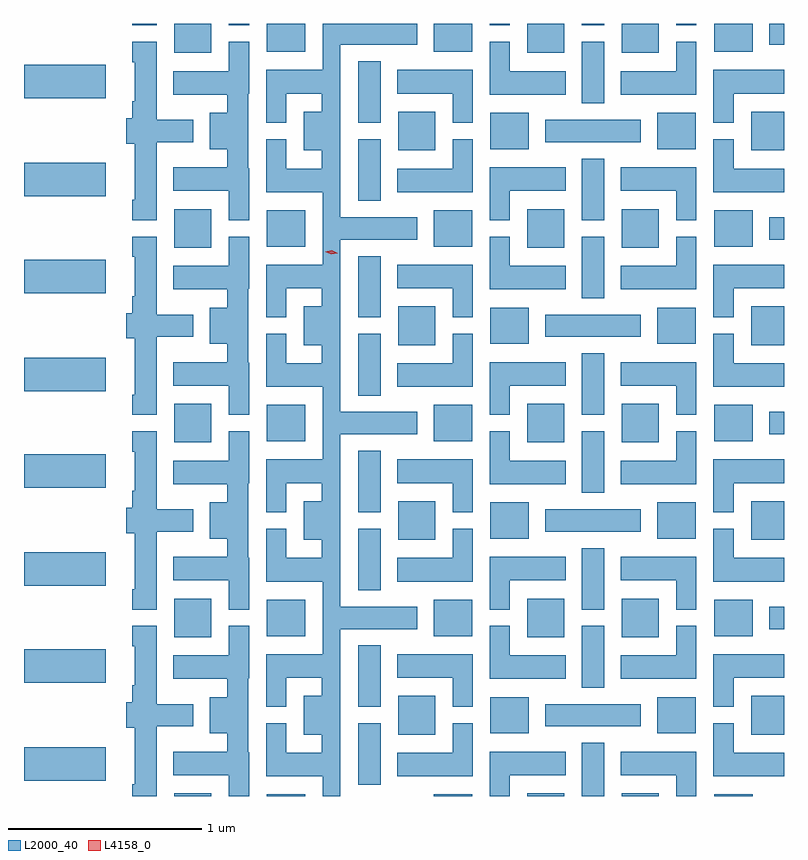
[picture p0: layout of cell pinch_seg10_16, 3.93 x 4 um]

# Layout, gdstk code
import gdstk
lib = gdstk.Library(unit=1e-6, precision=1e-09)
def R(c, l, rs):  # rectangles x0, y0, x1, y1
    for r in rs: c.add(gdstk.rectangle(r[:2], r[2:], *l))
def A(c, l, x, y, w, h, nx, ny, dx, dy):  # array of equal rectangles
    R(c, l, [(x+i*dx, y+j*dy, x+i*dx+w, y+j*dy+h) for i in range(nx) for j in range(ny)])
def P(c, l, *ps):  # polygons
    for p in ps: c.add(gdstk.Polygon(p, *l))
L2000_40 = (2000, 40)
L4158_0 = (4158, 0)

pinch_seg10_16 = lib.new_cell('pinch_seg10_16')
A(pinch_seg10_16, L2000_40, 975.428, 1303.157, 0.116, 0.319, 1, 4, 0, 1.008)
A(pinch_seg10_16, L2000_40, 975.635, 1303.418, 0.191, 0.2, 1, 4, 0, 1.008)
A(pinch_seg10_16, L2000_40, 977.462, 1303.418, 0.17, 0.2, 1, 4, 0, 1.008)
A(pinch_seg10_16, L2000_40, 976.112, 1303.424, 0.2, 0.188, 1, 4, 0, 1.008)
A(pinch_seg10_16, L2000_40, 976.976, 1303.424, 0.2, 0.188, 1, 4, 0, 1.008)
A(pinch_seg10_16, L2000_40, 976.397, 1303.46, 0.494, 0.116, 1, 4, 0, 1.008)
A(pinch_seg10_16, L2000_40, 975.428, 1303.561, 0.116, 0.318, 1, 4, 0, 1.008)
A(pinch_seg10_16, L2000_40, 976.586, 1303.661, 0.116, 0.319, 1, 4, 0, 1.008)
A(pinch_seg10_16, L2000_40, 974.477, 1303.922, 0.191, 0.2, 1, 3, 0, 1.008)
A(pinch_seg10_16, L2000_40, 976.304, 1303.922, 0.191, 0.2, 1, 3, 0, 1.008)
A(pinch_seg10_16, L2000_40, 976.793, 1303.922, 0.191, 0.2, 1, 3, 0, 1.008)
A(pinch_seg10_16, L2000_40, 974.954, 1303.928, 0.2, 0.188, 1, 3, 0, 1.008)
A(pinch_seg10_16, L2000_40, 975.818, 1303.928, 0.2, 0.188, 1, 3, 0, 1.008)
A(pinch_seg10_16, L2000_40, 977.27, 1303.928, 0.2, 0.188, 1, 3, 0, 1.008)
A(pinch_seg10_16, L2000_40, 977.555, 1303.964, 0.077, 0.116, 1, 3, 0, 1.008)
A(pinch_seg10_16, L2000_40, 976.586, 1304.065, 0.116, 0.318, 1, 3, 0, 1.008)
R(pinch_seg10_16, L2000_40, [(974.477,1303.098,974.668,1303.114), (974.954,1303.098,975.154,1303.108), (975.818,1303.098,976.018,1303.108), (976.304,1303.098,976.495,1303.114), (976.586,1303.098,976.702,1303.375), (976.793,1303.098,976.984,1303.114), (977.27,1303.098,977.47,1303.108), (973.698,1303.18,974.122,1303.353), (973.698,1303.687,974.122,1303.86), (973.698,1304.188,974.122,1304.361), (973.698,1304.695,974.122,1304.868), (973.698,1305.196,974.122,1305.369), (973.698,1305.703,974.122,1305.876), (973.698,1306.204,974.122,1306.377), (973.698,1306.711,974.122,1306.884), (974.477,1306.946,974.668,1307.098), (976.304,1306.946,976.495,1307.098), (976.793,1306.946,976.984,1307.098), (974.954,1306.952,975.154,1307.098), (975.818,1306.952,976.018,1307.098), (977.27,1306.952,977.47,1307.098), (977.555,1306.988,977.632,1307.098), (974.258,1307.089,974.386,1307.098), (974.759,1307.089,974.863,1307.098), (976.109,1307.089,976.213,1307.098), (976.586,1307.089,976.702,1307.098), (977.075,1307.089,977.179,1307.098)])
P(pinch_seg10_16, L2000_40, [(975.335,1303.964),(975.733,1303.964),(975.733,1304.08),(975.335,1304.08),(975.335,1304.972),(975.733,1304.972),(975.733,1305.088),(975.335,1305.088),(975.335,1305.98),(975.733,1305.98),(975.733,1306.096),(975.335,1306.096),(975.335,1306.988),(975.733,1306.988),(975.733,1307.098),(975.244,1307.098),(975.244,1306.858),(974.951,1306.858),(974.951,1306.585),(975.055,1306.585),(975.055,1306.736),(975.24,1306.736),(975.24,1306.642),(975.146,1306.642),(975.146,1306.442),(975.24,1306.442),(975.24,1306.348),(975.055,1306.348),(975.055,1306.5),(974.951,1306.5),(974.951,1306.226),(975.244,1306.226),(975.244,1305.85),(974.951,1305.85),(974.951,1305.577),(975.055,1305.577),(975.055,1305.728),(975.24,1305.728),(975.24,1305.634),(975.146,1305.634),(975.146,1305.434),(975.24,1305.434),(975.24,1305.34),(975.055,1305.34),(975.055,1305.492),(974.951,1305.492),(974.951,1305.218),(975.244,1305.218),(975.244,1304.842),(974.951,1304.842),(974.951,1304.569),(975.055,1304.569),(975.055,1304.72),(975.24,1304.72),(975.24,1304.626),(975.146,1304.626),(975.146,1304.426),(975.24,1304.426),(975.24,1304.332),(975.055,1304.332),(975.055,1304.484),(974.951,1304.484),(974.951,1304.21),(975.244,1304.21),(975.244,1303.834),(974.951,1303.834),(974.951,1303.561),(975.055,1303.561),(975.055,1303.712),(975.24,1303.712),(975.24,1303.618),(975.146,1303.618),(975.146,1303.418),(975.24,1303.418),(975.24,1303.324),(975.055,1303.324),(975.055,1303.476),(974.951,1303.476),(974.951,1303.202),(975.244,1303.202),(975.244,1303.098),(975.335,1303.098)],
  [(974.386,1306.484),(974.575,1306.484),(974.575,1306.6),(974.386,1306.6),(974.386,1307.004),(974.258,1307.004),(974.258,1306.898),(974.27,1306.898),(974.27,1306.696),(974.258,1306.696),(974.258,1306.608),(974.228,1306.608),(974.228,1306.477),(974.27,1306.477),(974.27,1306.186),(974.258,1306.186),(974.258,1306.081),(974.386,1306.081)],
  [(977.179,1307.004),(977.075,1307.004),(977.075,1306.852),(976.787,1306.852),(976.787,1306.73),(977.179,1306.73)],
  [(974.863,1306.35),(974.86,1306.35),(974.86,1306.734),(974.863,1306.734),(974.863,1307.004),(974.759,1307.004),(974.759,1306.852),(974.471,1306.852),(974.471,1306.73),(974.749,1306.73),(974.749,1306.636),(974.66,1306.636),(974.66,1306.448),(974.749,1306.448),(974.749,1306.354),(974.471,1306.354),(974.471,1306.232),(974.759,1306.232),(974.759,1306.081),(974.863,1306.081)],
  [(976.501,1306.852),(976.213,1306.852),(976.213,1307.004),(976.109,1307.004),(976.109,1306.73),(976.501,1306.73)],
  [(976.021,1306.858),(975.629,1306.858),(975.629,1306.736),(975.917,1306.736),(975.917,1306.585),(976.021,1306.585)],
  [(977.371,1306.736),(977.632,1306.736),(977.632,1306.858),(977.267,1306.858),(977.267,1306.585),(977.371,1306.585)],
  [(977.632,1306.348),(977.371,1306.348),(977.371,1306.5),(977.267,1306.5),(977.267,1306.226),(977.632,1306.226)],
  [(976.021,1306.5),(975.917,1306.5),(975.917,1306.348),(975.629,1306.348),(975.629,1306.226),(976.021,1306.226)],
  [(977.179,1306.354),(976.787,1306.354),(976.787,1306.232),(977.075,1306.232),(977.075,1306.081),(977.179,1306.081)],
  [(976.213,1306.232),(976.501,1306.232),(976.501,1306.354),(976.109,1306.354),(976.109,1306.081),(976.213,1306.081)],
  [(977.179,1305.996),(977.075,1305.996),(977.075,1305.844),(976.787,1305.844),(976.787,1305.722),(977.179,1305.722)],
  [(976.501,1305.844),(976.213,1305.844),(976.213,1305.996),(976.109,1305.996),(976.109,1305.722),(976.501,1305.722)],
  [(974.863,1305.342),(974.86,1305.342),(974.86,1305.726),(974.863,1305.726),(974.863,1305.996),(974.759,1305.996),(974.759,1305.844),(974.471,1305.844),(974.471,1305.722),(974.749,1305.722),(974.749,1305.628),(974.66,1305.628),(974.66,1305.44),(974.749,1305.44),(974.749,1305.346),(974.471,1305.346),(974.471,1305.224),(974.759,1305.224),(974.759,1305.073),(974.863,1305.073)],
  [(974.386,1305.476),(974.575,1305.476),(974.575,1305.592),(974.386,1305.592),(974.386,1305.996),(974.258,1305.996),(974.258,1305.89),(974.27,1305.89),(974.27,1305.688),(974.258,1305.688),(974.258,1305.6),(974.228,1305.6),(974.228,1305.469),(974.27,1305.469),(974.27,1305.178),(974.258,1305.178),(974.258,1305.073),(974.386,1305.073)],
  [(976.021,1305.85),(975.629,1305.85),(975.629,1305.728),(975.917,1305.728),(975.917,1305.577),(976.021,1305.577)],
  [(977.371,1305.728),(977.632,1305.728),(977.632,1305.85),(977.267,1305.85),(977.267,1305.577),(977.371,1305.577)],
  [(977.632,1305.34),(977.371,1305.34),(977.371,1305.492),(977.267,1305.492),(977.267,1305.218),(977.632,1305.218)],
  [(976.021,1305.492),(975.917,1305.492),(975.917,1305.34),(975.629,1305.34),(975.629,1305.218),(976.021,1305.218)],
  [(976.213,1305.224),(976.501,1305.224),(976.501,1305.346),(976.109,1305.346),(976.109,1305.073),(976.213,1305.073)],
  [(977.179,1305.346),(976.787,1305.346),(976.787,1305.224),(977.075,1305.224),(977.075,1305.073),(977.179,1305.073)],
  [(974.386,1304.468),(974.575,1304.468),(974.575,1304.584),(974.386,1304.584),(974.386,1304.988),(974.258,1304.988),(974.258,1304.882),(974.27,1304.882),(974.27,1304.68),(974.258,1304.68),(974.258,1304.592),(974.228,1304.592),(974.228,1304.461),(974.27,1304.461),(974.27,1304.17),(974.258,1304.17),(974.258,1304.065),(974.386,1304.065)],
  [(977.179,1304.988),(977.075,1304.988),(977.075,1304.836),(976.787,1304.836),(976.787,1304.714),(977.179,1304.714)],
  [(974.863,1304.334),(974.86,1304.334),(974.86,1304.718),(974.863,1304.718),(974.863,1304.988),(974.759,1304.988),(974.759,1304.836),(974.471,1304.836),(974.471,1304.714),(974.749,1304.714),(974.749,1304.62),(974.66,1304.62),(974.66,1304.432),(974.749,1304.432),(974.749,1304.338),(974.471,1304.338),(974.471,1304.216),(974.759,1304.216),(974.759,1304.065),(974.863,1304.065)],
  [(976.501,1304.836),(976.213,1304.836),(976.213,1304.988),(976.109,1304.988),(976.109,1304.714),(976.501,1304.714)],
  [(977.371,1304.72),(977.632,1304.72),(977.632,1304.842),(977.267,1304.842),(977.267,1304.569),(977.371,1304.569)],
  [(976.021,1304.842),(975.629,1304.842),(975.629,1304.72),(975.917,1304.72),(975.917,1304.569),(976.021,1304.569)],
  [(977.632,1304.332),(977.371,1304.332),(977.371,1304.484),(977.267,1304.484),(977.267,1304.21),(977.632,1304.21)],
  [(976.021,1304.484),(975.917,1304.484),(975.917,1304.332),(975.629,1304.332),(975.629,1304.21),(976.021,1304.21)],
  [(977.179,1304.338),(976.787,1304.338),(976.787,1304.216),(977.075,1304.216),(977.075,1304.065),(977.179,1304.065)],
  [(976.213,1304.216),(976.501,1304.216),(976.501,1304.338),(976.109,1304.338),(976.109,1304.065),(976.213,1304.065)],
  [(974.386,1303.46),(974.575,1303.46),(974.575,1303.576),(974.386,1303.576),(974.386,1303.98),(974.258,1303.98),(974.258,1303.874),(974.27,1303.874),(974.27,1303.672),(974.258,1303.672),(974.258,1303.584),(974.228,1303.584),(974.228,1303.453),(974.27,1303.453),(974.27,1303.162),(974.258,1303.162),(974.258,1303.098),(974.386,1303.098)],
  [(976.501,1303.828),(976.213,1303.828),(976.213,1303.98),(976.109,1303.98),(976.109,1303.706),(976.501,1303.706)],
  [(977.179,1303.98),(977.075,1303.98),(977.075,1303.828),(976.787,1303.828),(976.787,1303.706),(977.179,1303.706)],
  [(974.863,1303.326),(974.86,1303.326),(974.86,1303.71),(974.863,1303.71),(974.863,1303.98),(974.759,1303.98),(974.759,1303.828),(974.471,1303.828),(974.471,1303.706),(974.749,1303.706),(974.749,1303.612),(974.66,1303.612),(974.66,1303.424),(974.749,1303.424),(974.749,1303.33),(974.471,1303.33),(974.471,1303.208),(974.759,1303.208),(974.759,1303.098),(974.863,1303.098)],
  [(977.371,1303.712),(977.632,1303.712),(977.632,1303.834),(977.267,1303.834),(977.267,1303.561),(977.371,1303.561)],
  [(976.021,1303.834),(975.629,1303.834),(975.629,1303.712),(975.917,1303.712),(975.917,1303.561),(976.021,1303.561)],
  [(976.021,1303.476),(975.917,1303.476),(975.917,1303.324),(975.629,1303.324),(975.629,1303.202),(976.021,1303.202)],
  [(977.632,1303.324),(977.371,1303.324),(977.371,1303.476),(977.267,1303.476),(977.267,1303.202),(977.632,1303.202)],
  [(976.213,1303.208),(976.501,1303.208),(976.501,1303.33),(976.109,1303.33),(976.109,1303.098),(976.213,1303.098)],
  [(977.179,1303.33),(976.787,1303.33),(976.787,1303.208),(977.075,1303.208),(977.075,1303.098),(977.179,1303.098)])
P(pinch_seg10_16, L4158_0, [(975.288,1305.904),(975.257,1305.918),(975.257,1305.918),(975.257,1305.918),(975.29,1305.924),(975.321,1305.91),(975.322,1305.91),(975.321,1305.91)])

lib.write_gds('pinch_seg10_16.gds')
